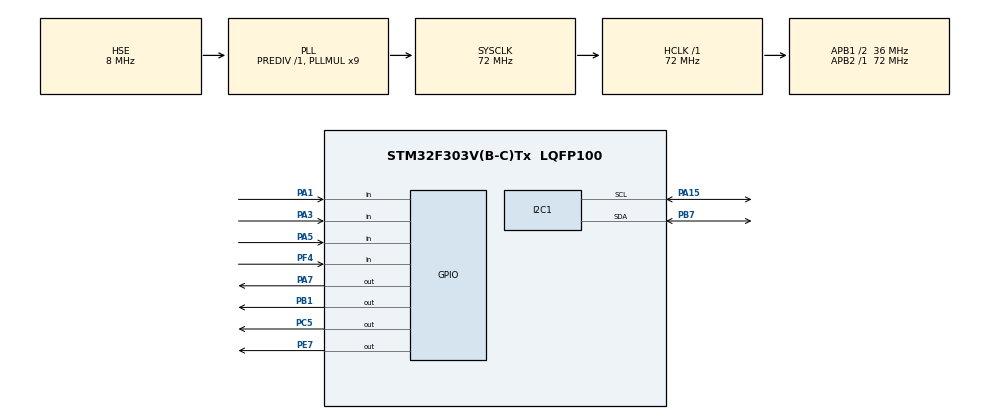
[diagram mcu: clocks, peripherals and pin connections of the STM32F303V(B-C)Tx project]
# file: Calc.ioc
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Mcu.Family=STM32F3
Mcu.Name=STM32F303V(B-C)Tx
Mcu.Package=LQFP100
NVIC.PriorityGroup=NVIC_PRIORITYGROUP_4
PA1.Signal=GPIO_Input
PA13.Mode=Serial_Wire
PA13.Signal=SYS_JTMS-SWDIO
PA14.Mode=Serial_Wire
PA14.Signal=SYS_JTCK-SWCLK
PA15.Mode=I2C
PA15.Signal=I2C1_SCL
PA3.Signal=GPIO_Input
PA5.Signal=GPIO_Input
PA7.Signal=GPIO_Output
PB1.Signal=GPIO_Output
PB7.Mode=I2C
PB7.Signal=I2C1_SDA
PC5.Signal=GPIO_Output
PE7.Signal=GPIO_Output
PF0-OSC_IN.Mode=HSE-External-Oscillator
PF0-OSC_IN.Signal=RCC_OSC_IN
PF1-OSC_OUT.Mode=HSE-External-Oscillator
PF1-OSC_OUT.Signal=RCC_OSC_OUT
PF4.Signal=GPIO_Input
ProjectManager.HeapSize=0x200
ProjectManager.StackSize=0x400
ProjectManager.TargetToolchain=STM32CubeIDE
RCC.AHBFreq_Value=72000000
RCC.APB1CLKDivider=RCC_HCLK_DIV2
RCC.APB1Freq_Value=36000000
RCC.APB1TimFreq_Value=72000000
RCC.APB2Freq_Value=72000000
RCC.APB2TimFreq_Value=72000000
RCC.CortexFreq_Value=72000000
RCC.HCLKFreq_Value=72000000
RCC.HSE_VALUE=8000000
RCC.HSI_VALUE=8000000
RCC.LSE_VALUE=32768
RCC.PLLMUL=RCC_PLL_MUL9
RCC.PLLSourceVirtual=RCC_PLLSOURCE_HSE
RCC.SYSCLKFreq_VALUE=72000000
RCC.SYSCLKSourceVirtual=RCC_SYSCLKSOURCE_PLLCLK
RCC.USBFreq_Value=72000000
board=custom

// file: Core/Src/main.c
/* USER CODE BEGIN Header */
/**
  ******************************************************************************
  * @file           : main.c
  * @brief          : Main program body
  ******************************************************************************
  * @attention
  *
  * <h2><center>&copy; Copyright (c) 2020 STMicroelectronics.
  * All rights reserved.</center></h2>
  *
  * This software component is licensed by ST under BSD 3-Clause license,
  * the "License"; You may not use this file except in compliance with the
  * License. You may obtain a copy of the License at:
  *                        opensource.org/licenses/BSD-3-Clause
  *
  ******************************************************************************
  */
/* USER CODE END Header */

#include "main.h"

/* USER CODE BEGIN Includes */
#include <stdio.h>
#include <string.h>//sprintf,memcpy,strcmp
#include <ctype.h>//isdigit
#include "lcd.h"
#include "Kalkulator.h"
#include "Keypad.h"
/* USER CODE END Includes */

I2C_HandleTypeDef hi2c1;

void SystemClock_Config(void);
static void MX_GPIO_Init(void);
static void MX_I2C1_Init(void);

/* USER CODE BEGIN 0 */
//bool mySwitches[16];
/* USER CODE END 0 */

int main(void)
{

  /* MCU Configuration--------------------------------------------------------*/

  /* Reset of all peripherals, Initializes the Flash interface and the Systick. */
  HAL_Init();

  /* Configure the system clock */
  SystemClock_Config();

  /* Initialize all configured peripherals */
  MX_GPIO_Init();
  MX_I2C1_Init();
  /* USER CODE BEGIN 2 */
  lcd_init();
  char tab[6];
  sprintf(tab,"00000");;
  char pwd[6];
  sprintf(pwd,"1234C");//po dostepne znaki patrz keypad.c char key
  int correctPwd;
  int pwdCorrect = 0;
  char character;
  double first = 0;
  double second = 0;
  char operation = 'C';
  int reset=0;
  char read[100];
  sprintf(read,"Ukryty text, ktory wyswietli sie po odpowiedniej kombinacji zgodznie z pwd");
  int lineNr=0;
  char print1[17];
  char print2[17];
  lcd_clear();
  lcd_put_cur(0, 0);
  /* USER CODE END 2 */

  /* Infinite loop */
  /* USER CODE BEGIN WHILE */
  while (1)
  {
	  do{

		  character=read_pad();//czytanie znaku z keypada
		  HAL_Delay(100);
	  }while(character=='E');//zabezpieczenie przed nieprawidlowym wejsciem

	  	  	  //jezeli haslo poprawne
  	  		if (pwdCorrect) {//ukryty czytnik
  	  			if (character == 'C')//wyjscie
  	  				pwdCorrect = 0;

  	  			switch (character){//obsluga czytnika
  	  			case '2': //czytanie i zmiana lini na poprzednia
  	  				if (lineNr > 0) {
  	  					lineNr--;
  	  				}
  	  				memcpy(print1, &read[0 + 16 * lineNr], 16);//substr bez ostatniego znaku(dokad,co[odkad],ile)
  	  				memcpy(print2, &read[0 + 16 * (lineNr+1)], 16);
  	  				print1[16] = '\0';//zakonczenie zmiennej
  	  				print2[16] = '\0';
  	  				;break;
  	  			case '8'://czytanie i zmiana lini na nastepna
  	  				if (strlen(read) / 16 - 1 != lineNr) {
  	  					lineNr++;
  	  				}
  	  				memcpy(print1, &read[0 + 16 * lineNr], 16);
  	  				memcpy(print2, &read[0 + 16 * (lineNr + 1)], 16);
  	  				print1[16] = '\0';
  	  				print2[16] = '\0';
  	  				break;
  	  			default:
  	  				break;
  	  			}

  	  			show_reader(print1, print2);//drukowanie obu lini

  	  		}
  	  		else {//kalkulator
  	  		show_calc(first, second, operation);
  	  			tab[0] = tab[1];//tablica z historia klawiszy
  	  			tab[1] = tab[2];
  	  			tab[2] = tab[3];
  	  			tab[3] = tab[4];
  	  			tab[4] = character;
  	  			correctPwd = strncmp(tab, pwd, sizeof(tab));//sprawdzenie hasla
  	  			if (correctPwd == 0) {//jezeli haslo poprawne
	  	  	  	  	  lcd_clear();
	  	  	  	  	  lcd_put_cur(0, 0);//drukowanie instrukcji
	  	  	  	  	  lcd_send_string("2 przewin w gore");
	  	  	  	  	  lcd_put_cur(1, 0);
	  	  	  	  	  lcd_send_string("8 przewin w dol");
  	  				pwdCorrect = 1;
  	  			}
  	  			else {
  	  				if (isdigit(character) && operation == 'C')//pierwsza liczba
  	  					first = first * 10 + character - 48;//['0'-'9']=[48-59]
  	  				else if (isdigit(character))//druga liczba
  	  					second = second * 10 + character - 48;
  	  				else {
  	  					switch (character){//sterowanie dzialaniami
  	  					/*		'1', '2', '3', 'A',
  	  							'4', '5', '6', 'B',
  	  							'7', '8', '9', 'C',
  	  							'*', '0', '#', 'D'
  	  					*/
  	  						case 'A':operation = '/'; break;
  	  						case 'B':operation = '*'; break;
  	  						case 'C':operation = '-'; break;
  	  						case 'D':operation = '+'; break;
  	  						case '*':operation = 'C';second=0; break;//zerowanie drugiej liczby
  	  						case '#':break;//=
  	  						default:break;
  	  					}
  	  					first = calc(operation, first, second);
  	  				}
  	  			}
  	  		}
    /* USER CODE END WHILE */

    }
}

void SystemClock_Config(void)
{
  RCC_OscInitTypeDef RCC_OscInitStruct = {0};
  RCC_ClkInitTypeDef RCC_ClkInitStruct = {0};
  RCC_PeriphCLKInitTypeDef PeriphClkInit = {0};

  /** Initializes the CPU, AHB and APB busses clocks
  */
  RCC_OscInitStruct.OscillatorType = RCC_OSCILLATORTYPE_HSI|RCC_OSCILLATORTYPE_HSE;
  RCC_OscInitStruct.HSEState = RCC_HSE_ON;
  RCC_OscInitStruct.HSEPredivValue = RCC_HSE_PREDIV_DIV1;
  RCC_OscInitStruct.HSIState = RCC_HSI_ON;
  RCC_OscInitStruct.HSICalibrationValue = RCC_HSICALIBRATION_DEFAULT;
  RCC_OscInitStruct.PLL.PLLState = RCC_PLL_ON;
  RCC_OscInitStruct.PLL.PLLSource = RCC_PLLSOURCE_HSE;
  RCC_OscInitStruct.PLL.PLLMUL = RCC_PLL_MUL9;
  if (HAL_RCC_OscConfig(&RCC_OscInitStruct) != HAL_OK)
  {
    Error_Handler();
  }
  /** Initializes the CPU, AHB and APB busses clocks
  */
  RCC_ClkInitStruct.ClockType = RCC_CLOCKTYPE_HCLK|RCC_CLOCKTYPE_SYSCLK
                              |RCC_CLOCKTYPE_PCLK1|RCC_CLOCKTYPE_PCLK2;
  RCC_ClkInitStruct.SYSCLKSource = RCC_SYSCLKSOURCE_PLLCLK;
  RCC_ClkInitStruct.AHBCLKDivider = RCC_SYSCLK_DIV1;
  RCC_ClkInitStruct.APB1CLKDivider = RCC_HCLK_DIV2;
  RCC_ClkInitStruct.APB2CLKDivider = RCC_HCLK_DIV1;

  if (HAL_RCC_ClockConfig(&RCC_ClkInitStruct, FLASH_LATENCY_2) != HAL_OK)
  {
    Error_Handler();
  }
  PeriphClkInit.PeriphClockSelection = RCC_PERIPHCLK_I2C1;
  PeriphClkInit.I2c1ClockSelection = RCC_I2C1CLKSOURCE_HSI;
  if (HAL_RCCEx_PeriphCLKConfig(&PeriphClkInit) != HAL_OK)
  {
    Error_Handler();
  }
}

static void MX_I2C1_Init(void)
{

  hi2c1.Instance = I2C1;
  hi2c1.Init.Timing = 0x2000090E;
  hi2c1.Init.OwnAddress1 = 0;
  hi2c1.Init.AddressingMode = I2C_ADDRESSINGMODE_7BIT;
  hi2c1.Init.DualAddressMode = I2C_DUALADDRESS_DISABLE;
  hi2c1.Init.OwnAddress2 = 0;
  hi2c1.Init.OwnAddress2Masks = I2C_OA2_NOMASK;
  hi2c1.Init.GeneralCallMode = I2C_GENERALCALL_DISABLE;
  hi2c1.Init.NoStretchMode = I2C_NOSTRETCH_DISABLE;
  if (HAL_I2C_Init(&hi2c1) != HAL_OK)
  {
    Error_Handler();
  }
  /** Configure Analogue filter
  */
  if (HAL_I2CEx_ConfigAnalogFilter(&hi2c1, I2C_ANALOGFILTER_ENABLE) != HAL_OK)
  {
    Error_Handler();
  }
  /** Configure Digital filter
  */
  if (HAL_I2CEx_ConfigDigitalFilter(&hi2c1, 0) != HAL_OK)
  {
    Error_Handler();
  }

}

static void MX_GPIO_Init(void)
{
  GPIO_InitTypeDef GPIO_InitStruct = {0};

  /* GPIO Ports Clock Enable */
  __HAL_RCC_GPIOF_CLK_ENABLE();
  __HAL_RCC_GPIOA_CLK_ENABLE();
  __HAL_RCC_GPIOC_CLK_ENABLE();
  __HAL_RCC_GPIOB_CLK_ENABLE();
  __HAL_RCC_GPIOE_CLK_ENABLE();

  /*Configure GPIO pin Output Level */
  HAL_GPIO_WritePin(GPIOA, GPIO_PIN_7, GPIO_PIN_RESET);

  /*Configure GPIO pin Output Level */
  HAL_GPIO_WritePin(GPIOC, GPIO_PIN_5, GPIO_PIN_RESET);

  /*Configure GPIO pin Output Level */
  HAL_GPIO_WritePin(GPIOB, GPIO_PIN_1, GPIO_PIN_RESET);

  /*Configure GPIO pin Output Level */
  HAL_GPIO_WritePin(GPIOE, GPIO_PIN_7, GPIO_PIN_RESET);

  /*Configure GPIO pins : PA1 PA3 PA5 */
  GPIO_InitStruct.Pin = GPIO_PIN_1|GPIO_PIN_3|GPIO_PIN_5;
  GPIO_InitStruct.Mode = GPIO_MODE_INPUT;
  GPIO_InitStruct.Pull = GPIO_NOPULL;
  HAL_GPIO_Init(GPIOA, &GPIO_InitStruct);

  /*Configure GPIO pin : PF4 */
  GPIO_InitStruct.Pin = GPIO_PIN_4;
  GPIO_InitStruct.Mode = GPIO_MODE_INPUT;
  GPIO_InitStruct.Pull = GPIO_NOPULL;
  HAL_GPIO_Init(GPIOF, &GPIO_InitStruct);

  /*Configure GPIO pin : PA7 */
  GPIO_InitStruct.Pin = GPIO_PIN_7;
  GPIO_InitStruct.Mode = GPIO_MODE_OUTPUT_PP;
  GPIO_InitStruct.Pull = GPIO_NOPULL;
  GPIO_InitStruct.Speed = GPIO_SPEED_FREQ_LOW;
  HAL_GPIO_Init(GPIOA, &GPIO_InitStruct);

  /*Configure GPIO pin : PC5 */
  GPIO_InitStruct.Pin = GPIO_PIN_5;
  GPIO_InitStruct.Mode = GPIO_MODE_OUTPUT_PP;
  GPIO_InitStruct.Pull = GPIO_NOPULL;
  GPIO_InitStruct.Speed = GPIO_SPEED_FREQ_LOW;
  HAL_GPIO_Init(GPIOC, &GPIO_InitStruct);

  /*Configure GPIO pin : PB1 */
  GPIO_InitStruct.Pin = GPIO_PIN_1;
  GPIO_InitStruct.Mode = GPIO_MODE_OUTPUT_PP;
  GPIO_InitStruct.Pull = GPIO_NOPULL;
  GPIO_InitStruct.Speed = GPIO_SPEED_FREQ_LOW;
  HAL_GPIO_Init(GPIOB, &GPIO_InitStruct);

  /*Configure GPIO pin : PE7 */
  GPIO_InitStruct.Pin = GPIO_PIN_7;
  GPIO_InitStruct.Mode = GPIO_MODE_OUTPUT_PP;
  GPIO_InitStruct.Pull = GPIO_NOPULL;
  GPIO_InitStruct.Speed = GPIO_SPEED_FREQ_LOW;
  HAL_GPIO_Init(GPIOE, &GPIO_InitStruct);

}

void Error_Handler(void)
{
}

/************************ (C) COPYRIGHT STMicroelectronics *****END OF FILE****/
